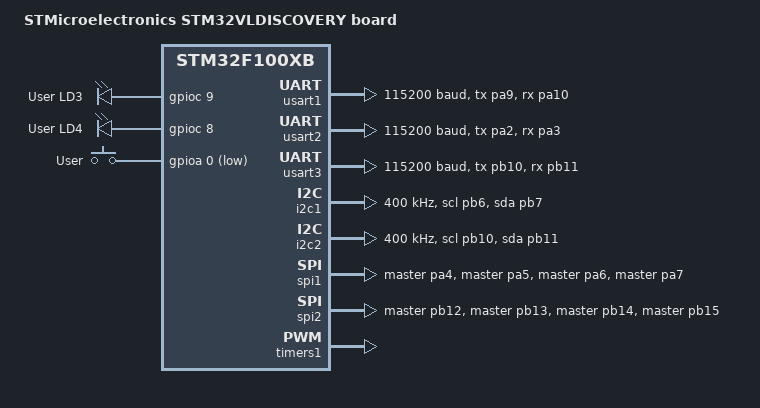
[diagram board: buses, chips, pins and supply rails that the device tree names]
/*
 * Copyright (c) 2020 Jonas Eriksson, Up to Code AB
 *
 * SPDX-License-Identifier: Apache-2.0
 */

/dts-v1/;
#include <st/f1/stm32f100Xb.dtsi>
#include <st/f1/stm32f100r(8-b)tx-pinctrl.dtsi>

/ {
	model = "STMicroelectronics STM32VLDISCOVERY board";
	compatible = "st,stm32vldiscovery";

	chosen {
		zephyr,console = &usart1;
		zephyr,shell-uart = &usart1;
		zephyr,sram = &sram0;
		zephyr,flash = &flash0;
	};

	leds {
		compatible = "gpio-leds";
		green_led: ld3 {
			gpios = <&gpioc 9 GPIO_ACTIVE_HIGH>;
			label = "User LD3";
		};
		blue_led: ld4 {
			gpios = <&gpioc 8 GPIO_ACTIVE_HIGH>;
			label = "User LD4";
		};
	};

	gpio_keys {
		compatible = "gpio-keys";
		user_button: button {
			label = "User";
			gpios = <&gpioa 0 GPIO_ACTIVE_LOW>;
		};
	};

	aliases {
		led0 = &green_led;
		led1 = &blue_led;
		sw0 = &user_button;
	};
};

&clk_hsi {
	status = "okay";
};

&pll {
	mul = <6>;
	prediv = <1>;
	clocks = <&clk_hsi>;
	status = "okay";
};

&rcc {
	clocks = <&pll>;
	clock-frequency = <DT_FREQ_M(24)>;
	ahb-prescaler = <1>;
	apb1-prescaler = <2>;
	apb2-prescaler = <1>;
};

&usart1 {
	pinctrl-0 = <&usart1_tx_pa9 &usart1_rx_pa10>;
	pinctrl-names = "default";
	current-speed = <115200>;
	status = "okay";
};

&usart2 {
	pinctrl-0 = <&usart2_tx_pa2 &usart2_rx_pa3>;
	pinctrl-names = "default";
	current-speed = <115200>;
	status = "okay";
};

&usart3 {
	pinctrl-0 = <&usart3_tx_pb10 &usart3_rx_pb11>;
	pinctrl-names = "default";
	current-speed = <115200>;
	status = "okay";
};

&i2c1 {
	pinctrl-0 = <&i2c1_scl_pb6 &i2c1_sda_pb7>;
	pinctrl-names = "default";
	status = "okay";
	clock-frequency = <I2C_BITRATE_FAST>;
};

&i2c2 {
	pinctrl-0 = <&i2c2_scl_pb10 &i2c2_sda_pb11>;
	pinctrl-names = "default";
	status = "okay";
	clock-frequency = <I2C_BITRATE_FAST>;
};

&spi1 {
	pinctrl-0 = <&spi1_nss_master_pa4 &spi1_sck_master_pa5
		     &spi1_miso_master_pa6 &spi1_mosi_master_pa7>;
	pinctrl-names = "default";
	status = "okay";
};

&spi2 {
	pinctrl-0 = <&spi2_nss_master_pb12 &spi2_sck_master_pb13
		     &spi2_miso_master_pb14 &spi2_mosi_master_pb15>;
	pinctrl-names = "default";
	status = "okay";
};

&timers1 {
	st,prescaler = <10000>;
	status = "okay";

	pwm1: pwm {
		status = "okay";
		pinctrl-0 = <&tim1_ch1_pwm_pa8>;
		pinctrl-names = "default";
	};
};
